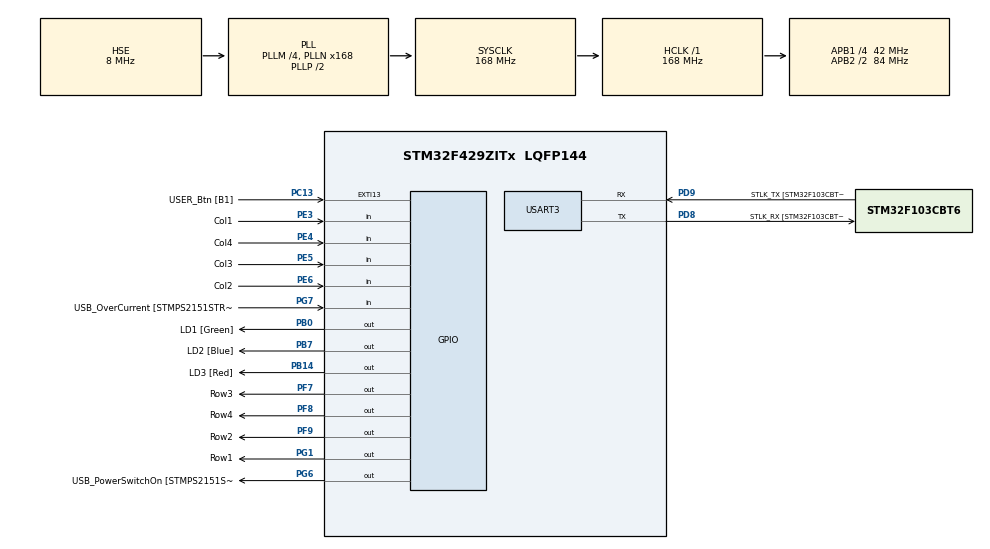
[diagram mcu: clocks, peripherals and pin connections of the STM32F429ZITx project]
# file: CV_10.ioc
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Mcu.Family=STM32F4
Mcu.Name=STM32F429ZITx
Mcu.Package=LQFP144
NVIC.PriorityGroup=NVIC_PRIORITYGROUP_4
NVIC.TIM3_IRQn=true\:0\:0\:false\:false\:true\:true\:true\:true
PA1.GPIO_Label=RMII_REF_CLK [LAN8742A-CZ-TR_REFCLK0]
PA1.Signal=ETH_REF_CLK
PA10.GPIO_Label=USB_ID
PA10.Signal=USB_OTG_FS_ID
PA11.GPIO_Label=USB_DM
PA11.Signal=USB_OTG_FS_DM
PA12.GPIO_Label=USB_DP
PA12.Signal=USB_OTG_FS_DP
PA13.GPIO_Label=TMS
PA13.Mode=Serial_Wire
PA13.Signal=SYS_JTMS-SWDIO
PA14.GPIO_Label=TCK
PA14.Mode=Serial_Wire
PA14.Signal=SYS_JTCK-SWCLK
PA2.GPIO_Label=RMII_MDIO [LAN8742A-CZ-TR_MDIO]
PA2.Signal=ETH_MDIO
PA7.GPIO_Label=RMII_CRS_DV [LAN8742A-CZ-TR_CRS_DV]
PA7.Signal=ETH_CRS_DV
PA8.GPIO_Label=USB_SOF [TP1]
PA8.Signal=USB_OTG_FS_SOF
PA9.GPIO_Label=USB_VBUS
PA9.Signal=USB_OTG_FS_VBUS
PB0.GPIO_Label=LD1 [Green]
PB0.Signal=GPIO_Output
PB13.GPIO_Label=RMII_TXD1 [LAN8742A-CZ-TR_TXD1]
PB13.Signal=ETH_TXD1
PB14.GPIO_Label=LD3 [Red]
PB14.Signal=GPIO_Output
PB7.GPIO_Label=LD2 [Blue]
PB7.Signal=GPIO_Output
PC1.GPIO_Label=RMII_MDC [LAN8742A-CZ-TR_MDC]
PC1.Signal=ETH_MDC
PC13.GPIO_Label=USER_Btn [B1]
PC13.Signal=GPXTI13
PC14/OSC32_IN.Mode=LSE-External-Oscillator
PC14/OSC32_IN.Signal=RCC_OSC32_IN
PC15/OSC32_OUT.Mode=LSE-External-Oscillator
PC15/OSC32_OUT.Signal=RCC_OSC32_OUT
PC4.GPIO_Label=RMII_RXD0 [LAN8742A-CZ-TR_RXD0]
PC4.Signal=ETH_RXD0
PC5.GPIO_Label=RMII_RXD1 [LAN8742A-CZ-TR_RXD1]
PC5.Signal=ETH_RXD1
PD8.GPIO_Label=STLK_RX [STM32F103CBT6_PA3]
PD8.Mode=Asynchronous
PD8.Signal=USART3_TX
PD9.GPIO_Label=STLK_TX [STM32F103CBT6_PA2]
PD9.Mode=Asynchronous
PD9.Signal=USART3_RX
PE3.GPIO_Label=Col1
PE3.GPIO_PuPd=GPIO_PULLUP
PE3.Signal=GPIO_Input
PE4.GPIO_Label=Col4
PE4.GPIO_PuPd=GPIO_PULLUP
PE4.Signal=GPIO_Input
PE5.GPIO_Label=Col3
PE5.GPIO_PuPd=GPIO_PULLUP
PE5.Signal=GPIO_Input
PE6.GPIO_Label=Col2
PE6.GPIO_PuPd=GPIO_PULLUP
PE6.Signal=GPIO_Input
PF7.GPIO_Label=Row3
PF7.GPIO_ModeDefaultOutputPP=GPIO_MODE_OUTPUT_OD
PF7.GPIO_PuPd=GPIO_NOPULL
PF7.Signal=GPIO_Output
PF8.GPIO_Label=Row4
PF8.GPIO_ModeDefaultOutputPP=GPIO_MODE_OUTPUT_OD
PF8.GPIO_PuPd=GPIO_NOPULL
PF8.Signal=GPIO_Output
PF9.GPIO_Label=Row2
PF9.GPIO_ModeDefaultOutputPP=GPIO_MODE_OUTPUT_OD
PF9.GPIO_PuPd=GPIO_NOPULL
PF9.Signal=GPIO_Output
PG1.GPIO_Label=Row1
PG1.GPIO_ModeDefaultOutputPP=GPIO_MODE_OUTPUT_OD
PG1.GPIO_PuPd=GPIO_NOPULL
PG1.Signal=GPIO_Output
PG11.GPIO_Label=RMII_TX_EN [LAN8742A-CZ-TR_TXEN]
PG11.Signal=ETH_TX_EN
PG13.GPIO_Label=RMII_TXD0 [LAN8742A-CZ-TR_TXD0]
PG13.Signal=ETH_TXD0
PG6.GPIO_Label=USB_PowerSwitchOn [STMPS2151STR_EN]
PG6.Signal=GPIO_Output
PG7.GPIO_Label=USB_OverCurrent [STMPS2151STR_FAULT]
PG7.Signal=GPIO_Input
PH0/OSC_IN.GPIO_Label=MCO [STM32F103CBT6_PA8]
PH0/OSC_IN.Mode=HSE-External-Clock-Source
PH0/OSC_IN.Signal=RCC_OSC_IN
PH1/OSC_OUT.Mode=HSE-External-Clock-Source
PH1/OSC_OUT.Signal=RCC_OSC_OUT
ProjectManager.HeapSize=0x200
ProjectManager.StackSize=0x400
ProjectManager.TargetToolchain=STM32CubeIDE
RCC.48MHZClocksFreq_Value=48000000
RCC.AHBFreq_Value=168000000
RCC.APB1CLKDivider=RCC_HCLK_DIV4
RCC.APB1Freq_Value=42000000
RCC.APB1TimFreq_Value=84000000
RCC.APB2CLKDivider=RCC_HCLK_DIV2
RCC.APB2Freq_Value=84000000
RCC.APB2TimCLKDivider=2
RCC.APB2TimFreq_Value=168000000
RCC.CortexFreq_Value=168000000
RCC.HCLKFreq_Value=168000000
RCC.HSE_VALUE=8000000
RCC.HSI_VALUE=16000000
RCC.PLLM=4
RCC.PLLMUL=RCC_PLL_MUL9
RCC.PLLN=168
RCC.PLLQ=7
RCC.PLLSourceVirtual=RCC_PLLSOURCE_HSE
RCC.PRESCALERUSB=RCC_USBCLKSOURCE_PLL_DIV1_5
RCC.SYSCLKFreq_VALUE=168000000
RCC.SYSCLKSource=RCC_SYSCLKSOURCE_PLLCLK
RCC.SYSCLKSourceVirtual=RCC_SYSCLKSOURCE_PLLCLK
RCC.USBFreq_Value=48000000
RCC.VCOOutputFreq_Value=336000000
TIM3.AutoReloadPreload=TIM_AUTORELOAD_PRELOAD_ENABLE
TIM3.Period=99
TIM3.Prescaler=8399
USART3.VirtualMode=VM_ASYNC
VP_TIM3_VS_ClockSourceINT.Mode=Internal
board=NUCLEO-F429ZI

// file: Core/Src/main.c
/* USER CODE BEGIN Header */
/**
 ******************************************************************************
 * @file           : main.c
 * @brief          : Main program body
 ******************************************************************************
 * @attention
 *
 * Copyright (c) 2023 STMicroelectronics.
 * All rights reserved.
 *
 * This software is licensed under terms that can be found in the LICENSE file
 * in the root directory of this software component.
 * If no LICENSE file comes with this software, it is provided AS-IS.
 *
 ******************************************************************************
 */
/* USER CODE END Header */
#include "main.h"

/* USER CODE BEGIN Includes */
#include <stdio.h>
/* USER CODE END Includes */

/* USER CODE BEGIN PD */
static volatile int8_t key = -1;

/* USER CODE END PD */

TIM_HandleTypeDef htim3;

UART_HandleTypeDef huart3;

void SystemClock_Config(void);
static void MX_GPIO_Init(void);
static void MX_USART3_UART_Init(void);
static void MX_TIM3_Init(void);

/* USER CODE BEGIN 0 */
int __io_putchar(int ch) {
	ITM_SendChar(ch);
	return 0;
}

/* USER CODE END 0 */

int main(void) {

	/* MCU Configuration--------------------------------------------------------*/

	/* Reset of all peripherals, Initializes the Flash interface and the Systick. */
	HAL_Init();

	/* Configure the system clock */
	SystemClock_Config();

	/* Initialize all configured peripherals */
	MX_GPIO_Init();
	MX_USART3_UART_Init();
	MX_TIM3_Init();
	/* USER CODE BEGIN 2 */
	HAL_TIM_Base_Start_IT(&htim3);

	/* USER CODE END 2 */

	/* Infinite loop */
	/* USER CODE BEGIN WHILE */
	uint8_t i = 0;
	int8_t spravny_kod[5] = { 7, 9, 3, 2, 12 };
	int8_t napsany_kod[5] = { 0, 0, 0, 0, 0 };

	while (1) {
		if (key != -1) {

			printf("Stisknuto: %d\n", key);
			napsany_kod[i] = key;
			HAL_Delay(300);
			if (i == 4) {
				uint8_t correct = 1;
				for (uint8_t j = 0; j < 5; j++) {
					correct = napsany_kod[j] == spravny_kod[j];
				}

				if (correct) {
					printf("Zadany kod je spravny\n");
					HAL_GPIO_TogglePin(LD3_GPIO_Port, LD3_Pin);
					HAL_Delay(2000);
					HAL_GPIO_TogglePin(LD3_GPIO_Port, LD3_Pin);

				} else {
					printf("Zadany kod je nespravny\n");
				}

				key = -1;
				i = 0;
			} else {
				i = i + 1;
				key = -1;
			}
		}

		/* USER CODE END WHILE */

	}
}

void SystemClock_Config(void) {
	RCC_OscInitTypeDef RCC_OscInitStruct = { 0 };
	RCC_ClkInitTypeDef RCC_ClkInitStruct = { 0 };

	/** Configure the main internal regulator output voltage
	 */
	__HAL_RCC_PWR_CLK_ENABLE();
	__HAL_PWR_VOLTAGESCALING_CONFIG(PWR_REGULATOR_VOLTAGE_SCALE1);

	/** Initializes the RCC Oscillators according to the specified parameters
	 * in the RCC_OscInitTypeDef structure.
	 */
	RCC_OscInitStruct.OscillatorType = RCC_OSCILLATORTYPE_HSE;
	RCC_OscInitStruct.HSEState = RCC_HSE_BYPASS;
	RCC_OscInitStruct.PLL.PLLState = RCC_PLL_ON;
	RCC_OscInitStruct.PLL.PLLSource = RCC_PLLSOURCE_HSE;
	RCC_OscInitStruct.PLL.PLLM = 4;
	RCC_OscInitStruct.PLL.PLLN = 168;
	RCC_OscInitStruct.PLL.PLLP = RCC_PLLP_DIV2;
	RCC_OscInitStruct.PLL.PLLQ = 7;
	if (HAL_RCC_OscConfig(&RCC_OscInitStruct) != HAL_OK) {
		Error_Handler();
	}

	/** Initializes the CPU, AHB and APB buses clocks
	 */
	RCC_ClkInitStruct.ClockType = RCC_CLOCKTYPE_HCLK | RCC_CLOCKTYPE_SYSCLK
			| RCC_CLOCKTYPE_PCLK1 | RCC_CLOCKTYPE_PCLK2;
	RCC_ClkInitStruct.SYSCLKSource = RCC_SYSCLKSOURCE_PLLCLK;
	RCC_ClkInitStruct.AHBCLKDivider = RCC_SYSCLK_DIV1;
	RCC_ClkInitStruct.APB1CLKDivider = RCC_HCLK_DIV4;
	RCC_ClkInitStruct.APB2CLKDivider = RCC_HCLK_DIV2;

	if (HAL_RCC_ClockConfig(&RCC_ClkInitStruct, FLASH_LATENCY_5) != HAL_OK) {
		Error_Handler();
	}
}

static void MX_TIM3_Init(void) {

	TIM_ClockConfigTypeDef sClockSourceConfig = { 0 };
	TIM_MasterConfigTypeDef sMasterConfig = { 0 };

	htim3.Instance = TIM3;
	htim3.Init.Prescaler = 8399;
	htim3.Init.CounterMode = TIM_COUNTERMODE_UP;
	htim3.Init.Period = 99;
	htim3.Init.ClockDivision = TIM_CLOCKDIVISION_DIV1;
	htim3.Init.AutoReloadPreload = TIM_AUTORELOAD_PRELOAD_ENABLE;
	if (HAL_TIM_Base_Init(&htim3) != HAL_OK) {
		Error_Handler();
	}
	sClockSourceConfig.ClockSource = TIM_CLOCKSOURCE_INTERNAL;
	if (HAL_TIM_ConfigClockSource(&htim3, &sClockSourceConfig) != HAL_OK) {
		Error_Handler();
	}
	sMasterConfig.MasterOutputTrigger = TIM_TRGO_RESET;
	sMasterConfig.MasterSlaveMode = TIM_MASTERSLAVEMODE_DISABLE;
	if (HAL_TIMEx_MasterConfigSynchronization(&htim3, &sMasterConfig)
			!= HAL_OK) {
		Error_Handler();
	}

}

static void MX_USART3_UART_Init(void) {

	huart3.Instance = USART3;
	huart3.Init.BaudRate = 115200;
	huart3.Init.WordLength = UART_WORDLENGTH_8B;
	huart3.Init.StopBits = UART_STOPBITS_1;
	huart3.Init.Parity = UART_PARITY_NONE;
	huart3.Init.Mode = UART_MODE_TX_RX;
	huart3.Init.HwFlowCtl = UART_HWCONTROL_NONE;
	huart3.Init.OverSampling = UART_OVERSAMPLING_16;
	if (HAL_UART_Init(&huart3) != HAL_OK) {
		Error_Handler();
	}

}

static void MX_GPIO_Init(void) {
	GPIO_InitTypeDef GPIO_InitStruct = { 0 };

	/* GPIO Ports Clock Enable */
	__HAL_RCC_GPIOE_CLK_ENABLE();
	__HAL_RCC_GPIOC_CLK_ENABLE();
	__HAL_RCC_GPIOF_CLK_ENABLE();
	__HAL_RCC_GPIOH_CLK_ENABLE();
	__HAL_RCC_GPIOA_CLK_ENABLE();
	__HAL_RCC_GPIOB_CLK_ENABLE();
	__HAL_RCC_GPIOG_CLK_ENABLE();
	__HAL_RCC_GPIOD_CLK_ENABLE();

	/*Configure GPIO pin Output Level */
	HAL_GPIO_WritePin(GPIOF, Row3_Pin | Row4_Pin | Row2_Pin, GPIO_PIN_RESET);

	/*Configure GPIO pin Output Level */
	HAL_GPIO_WritePin(GPIOB, LD1_Pin | LD3_Pin | LD2_Pin, GPIO_PIN_RESET);

	/*Configure GPIO pin Output Level */
	HAL_GPIO_WritePin(GPIOG, Row1_Pin | USB_PowerSwitchOn_Pin, GPIO_PIN_RESET);

	/*Configure GPIO pins : Col1_Pin Col4_Pin Col3_Pin Col2_Pin */
	GPIO_InitStruct.Pin = Col1_Pin | Col4_Pin | Col3_Pin | Col2_Pin;
	GPIO_InitStruct.Mode = GPIO_MODE_INPUT;
	GPIO_InitStruct.Pull = GPIO_PULLUP;
	HAL_GPIO_Init(GPIOE, &GPIO_InitStruct);

	/*Configure GPIO pin : USER_Btn_Pin */
	GPIO_InitStruct.Pin = USER_Btn_Pin;
	GPIO_InitStruct.Mode = GPIO_MODE_IT_RISING;
	GPIO_InitStruct.Pull = GPIO_NOPULL;
	HAL_GPIO_Init(USER_Btn_GPIO_Port, &GPIO_InitStruct);

	/*Configure GPIO pins : Row3_Pin Row4_Pin Row2_Pin */
	GPIO_InitStruct.Pin = Row3_Pin | Row4_Pin | Row2_Pin;
	GPIO_InitStruct.Mode = GPIO_MODE_OUTPUT_OD;
	GPIO_InitStruct.Pull = GPIO_NOPULL;
	GPIO_InitStruct.Speed = GPIO_SPEED_FREQ_LOW;
	HAL_GPIO_Init(GPIOF, &GPIO_InitStruct);

	/*Configure GPIO pins : RMII_MDC_Pin RMII_RXD0_Pin RMII_RXD1_Pin */
	GPIO_InitStruct.Pin = RMII_MDC_Pin | RMII_RXD0_Pin | RMII_RXD1_Pin;
	GPIO_InitStruct.Mode = GPIO_MODE_AF_PP;
	GPIO_InitStruct.Pull = GPIO_NOPULL;
	GPIO_InitStruct.Speed = GPIO_SPEED_FREQ_VERY_HIGH;
	GPIO_InitStruct.Alternate = GPIO_AF11_ETH;
	HAL_GPIO_Init(GPIOC, &GPIO_InitStruct);

	/*Configure GPIO pins : RMII_REF_CLK_Pin RMII_MDIO_Pin RMII_CRS_DV_Pin */
	GPIO_InitStruct.Pin = RMII_REF_CLK_Pin | RMII_MDIO_Pin | RMII_CRS_DV_Pin;
	GPIO_InitStruct.Mode = GPIO_MODE_AF_PP;
	GPIO_InitStruct.Pull = GPIO_NOPULL;
	GPIO_InitStruct.Speed = GPIO_SPEED_FREQ_VERY_HIGH;
	GPIO_InitStruct.Alternate = GPIO_AF11_ETH;
	HAL_GPIO_Init(GPIOA, &GPIO_InitStruct);

	/*Configure GPIO pins : LD1_Pin LD3_Pin LD2_Pin */
	GPIO_InitStruct.Pin = LD1_Pin | LD3_Pin | LD2_Pin;
	GPIO_InitStruct.Mode = GPIO_MODE_OUTPUT_PP;
	GPIO_InitStruct.Pull = GPIO_NOPULL;
	GPIO_InitStruct.Speed = GPIO_SPEED_FREQ_LOW;
	HAL_GPIO_Init(GPIOB, &GPIO_InitStruct);

	/*Configure GPIO pin : Row1_Pin */
	GPIO_InitStruct.Pin = Row1_Pin;
	GPIO_InitStruct.Mode = GPIO_MODE_OUTPUT_OD;
	GPIO_InitStruct.Pull = GPIO_NOPULL;
	GPIO_InitStruct.Speed = GPIO_SPEED_FREQ_LOW;
	HAL_GPIO_Init(Row1_GPIO_Port, &GPIO_InitStruct);

	/*Configure GPIO pin : RMII_TXD1_Pin */
	GPIO_InitStruct.Pin = RMII_TXD1_Pin;
	GPIO_InitStruct.Mode = GPIO_MODE_AF_PP;
	GPIO_InitStruct.Pull = GPIO_NOPULL;
	GPIO_InitStruct.Speed = GPIO_SPEED_FREQ_VERY_HIGH;
	GPIO_InitStruct.Alternate = GPIO_AF11_ETH;
	HAL_GPIO_Init(RMII_TXD1_GPIO_Port, &GPIO_InitStruct);

	/*Configure GPIO pin : USB_PowerSwitchOn_Pin */
	GPIO_InitStruct.Pin = USB_PowerSwitchOn_Pin;
	GPIO_InitStruct.Mode = GPIO_MODE_OUTPUT_PP;
	GPIO_InitStruct.Pull = GPIO_NOPULL;
	GPIO_InitStruct.Speed = GPIO_SPEED_FREQ_LOW;
	HAL_GPIO_Init(USB_PowerSwitchOn_GPIO_Port, &GPIO_InitStruct);

	/*Configure GPIO pin : USB_OverCurrent_Pin */
	GPIO_InitStruct.Pin = USB_OverCurrent_Pin;
	GPIO_InitStruct.Mode = GPIO_MODE_INPUT;
	GPIO_InitStruct.Pull = GPIO_NOPULL;
	HAL_GPIO_Init(USB_OverCurrent_GPIO_Port, &GPIO_InitStruct);

	/*Configure GPIO pins : USB_SOF_Pin USB_ID_Pin USB_DM_Pin USB_DP_Pin */
	GPIO_InitStruct.Pin = USB_SOF_Pin | USB_ID_Pin | USB_DM_Pin | USB_DP_Pin;
	GPIO_InitStruct.Mode = GPIO_MODE_AF_PP;
	GPIO_InitStruct.Pull = GPIO_NOPULL;
	GPIO_InitStruct.Speed = GPIO_SPEED_FREQ_VERY_HIGH;
	GPIO_InitStruct.Alternate = GPIO_AF10_OTG_FS;
	HAL_GPIO_Init(GPIOA, &GPIO_InitStruct);

	/*Configure GPIO pin : USB_VBUS_Pin */
	GPIO_InitStruct.Pin = USB_VBUS_Pin;
	GPIO_InitStruct.Mode = GPIO_MODE_INPUT;
	GPIO_InitStruct.Pull = GPIO_NOPULL;
	HAL_GPIO_Init(USB_VBUS_GPIO_Port, &GPIO_InitStruct);

	/*Configure GPIO pins : RMII_TX_EN_Pin RMII_TXD0_Pin */
	GPIO_InitStruct.Pin = RMII_TX_EN_Pin | RMII_TXD0_Pin;
	GPIO_InitStruct.Mode = GPIO_MODE_AF_PP;
	GPIO_InitStruct.Pull = GPIO_NOPULL;
	GPIO_InitStruct.Speed = GPIO_SPEED_FREQ_VERY_HIGH;
	GPIO_InitStruct.Alternate = GPIO_AF11_ETH;
	HAL_GPIO_Init(GPIOG, &GPIO_InitStruct);

}

/* USER CODE BEGIN 4 */

void HAL_TIM_PeriodElapsedCallback(TIM_HandleTypeDef *htim) {
	static int row = 0;
	static const int keyboard[4][4] = { { 1, 2, 3, 21 }, { 4, 5, 6, 22 }, { 7,
			8, 9, 23 }, { 11, 0, 12, 24 }, };
	if (key == -1) {
		if (HAL_GPIO_ReadPin(Col1_GPIO_Port, Col1_Pin) == GPIO_PIN_RESET)
			key = keyboard[row][0];
		if (HAL_GPIO_ReadPin(Col2_GPIO_Port, Col2_Pin) == GPIO_PIN_RESET)
			key = keyboard[row][1];
		if (HAL_GPIO_ReadPin(Col3_GPIO_Port, Col3_Pin) == GPIO_PIN_RESET)
			key = keyboard[row][2];
		if (HAL_GPIO_ReadPin(Col4_GPIO_Port, Col4_Pin) == GPIO_PIN_RESET)
			key = keyboard[row][3];
	}
	HAL_GPIO_WritePin(Row1_GPIO_Port, Row1_Pin, GPIO_PIN_SET);
	HAL_GPIO_WritePin(Row2_GPIO_Port, Row2_Pin, GPIO_PIN_SET);
	HAL_GPIO_WritePin(Row3_GPIO_Port, Row3_Pin, GPIO_PIN_SET);
	HAL_GPIO_WritePin(Row4_GPIO_Port, Row4_Pin, GPIO_PIN_SET);
	switch (row) {
	case 0:
		row = 1;
		HAL_GPIO_WritePin(Row2_GPIO_Port, Row2_Pin, GPIO_PIN_RESET);
		break;
	case 1:
		row = 2;
		HAL_GPIO_WritePin(Row3_GPIO_Port, Row3_Pin, GPIO_PIN_RESET);
		break;
	case 2:
		row = 3;
		HAL_GPIO_WritePin(Row4_GPIO_Port, Row4_Pin, GPIO_PIN_RESET);
		break;
	case 3:
		row = 0;
		HAL_GPIO_WritePin(Row1_GPIO_Port, Row1_Pin, GPIO_PIN_RESET);
		break;
	}
}
/* USER CODE END 4 */

void Error_Handler(void) {
	__disable_irq();
	while (1) {
	}
}
